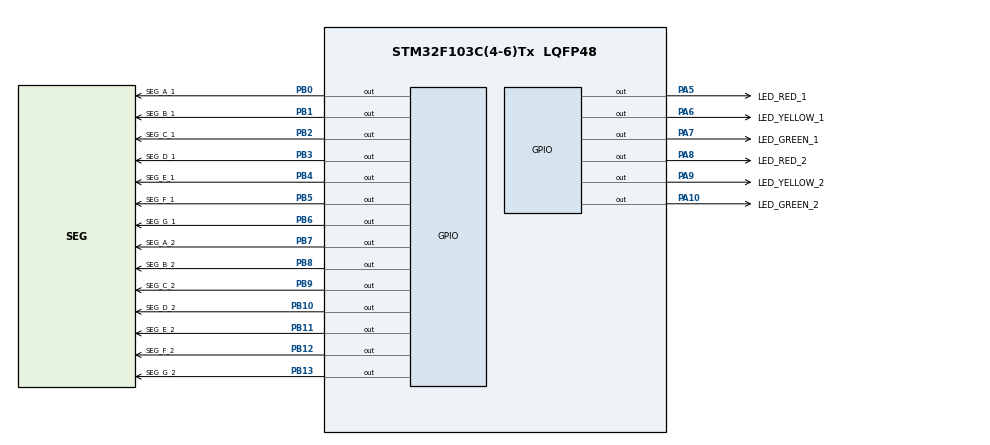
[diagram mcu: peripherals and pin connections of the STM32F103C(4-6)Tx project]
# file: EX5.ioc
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Mcu.Family=STM32F1
Mcu.Name=STM32F103C(4-6)Tx
Mcu.Package=LQFP48
NVIC.PriorityGroup=NVIC_PRIORITYGROUP_4
PA10.GPIO_Label=LED_GREEN_2
PA10.Signal=GPIO_Output
PA5.GPIO_Label=LED_RED_1
PA5.Signal=GPIO_Output
PA6.GPIO_Label=LED_YELLOW_1
PA6.Signal=GPIO_Output
PA7.GPIO_Label=LED_GREEN_1
PA7.Signal=GPIO_Output
PA8.GPIO_Label=LED_RED_2
PA8.Signal=GPIO_Output
PA9.GPIO_Label=LED_YELLOW_2
PA9.Signal=GPIO_Output
PB0.GPIO_Label=SEG_A_1
PB0.Signal=GPIO_Output
PB1.GPIO_Label=SEG_B_1
PB1.Signal=GPIO_Output
PB10.GPIO_Label=SEG_D_2
PB10.Signal=GPIO_Output
PB11.GPIO_Label=SEG_E_2
PB11.Signal=GPIO_Output
PB12.GPIO_Label=SEG_F_2
PB12.Signal=GPIO_Output
PB13.GPIO_Label=SEG_G_2
PB13.Signal=GPIO_Output
PB2.GPIO_Label=SEG_C_1
PB2.Signal=GPIO_Output
PB3.GPIO_Label=SEG_D_1
PB3.Signal=GPIO_Output
PB4.GPIO_Label=SEG_E_1
PB4.Signal=GPIO_Output
PB5.GPIO_Label=SEG_F_1
PB5.Signal=GPIO_Output
PB6.GPIO_Label=SEG_G_1
PB6.Signal=GPIO_Output
PB7.GPIO_Label=SEG_A_2
PB7.Signal=GPIO_Output
PB8.GPIO_Label=SEG_B_2
PB8.Signal=GPIO_Output
PB9.GPIO_Label=SEG_C_2
PB9.Signal=GPIO_Output
ProjectManager.HeapSize=0x200
ProjectManager.StackSize=0x400
ProjectManager.TargetToolchain=STM32CubeIDE
RCC.APB1Freq_Value=8000000
RCC.APB2Freq_Value=8000000
VP_SYS_VS_ND.Mode=No_Debug
board=custom

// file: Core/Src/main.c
/* USER CODE BEGIN Header */
/**
  ******************************************************************************
  * @file           : main.c
  * @brief          : Main program body
  ******************************************************************************
  * @attention
  *
  * <h2><center>&copy; Copyright (c) 2024 STMicroelectronics.
  * All rights reserved.</center></h2>
  *
  * This software component is licensed by ST under BSD 3-Clause license,
  * the "License"; You may not use this file except in compliance with the
  * License. You may obtain a copy of the License at:
  *                        opensource.org/licenses/BSD-3-Clause
  *
  ******************************************************************************
  */
/* USER CODE END Header */
#include "main.h"

void SystemClock_Config(void);
static void MX_GPIO_Init(void);

int main(void)
{

  /* MCU Configuration--------------------------------------------------------*/

  /* Reset of all peripherals, Initializes the Flash interface and the Systick. */
  HAL_Init();

  /* Configure the system clock */
  SystemClock_Config();

  /* Initialize all configured peripherals */
  MX_GPIO_Init();

  /* Infinite loop */
  /* USER CODE BEGIN WHILE */
  void display7SEG_1(int num){
  	HAL_GPIO_WritePin(GPIOB, SEG_A_1_Pin | SEG_B_1_Pin | SEG_C_1_Pin | SEG_D_1_Pin | SEG_E_1_Pin | SEG_F_1_Pin | SEG_G_1_Pin, SET); // TAT TOAN BO LED TREN LED SO
  	switch (num) {
  		case 0:
  			HAL_GPIO_WritePin(GPIOB, SEG_A_1_Pin | SEG_B_1_Pin | SEG_C_1_Pin | SEG_D_1_Pin | SEG_E_1_Pin | SEG_F_1_Pin, RESET);
  			break;
  		case 1:
  			HAL_GPIO_WritePin(GPIOB, SEG_B_1_Pin | SEG_C_1_Pin, RESET);
  			break;
  		case 2:
  			HAL_GPIO_WritePin(GPIOB, SEG_A_1_Pin | SEG_B_1_Pin | SEG_D_1_Pin | SEG_E_1_Pin | SEG_G_1_Pin, RESET);
  			break;
  		case 3:
  			HAL_GPIO_WritePin(GPIOB, SEG_A_1_Pin | SEG_B_1_Pin | SEG_C_1_Pin | SEG_D_1_Pin | SEG_G_1_Pin, RESET);
  			break;
  		case 4:
  			HAL_GPIO_WritePin(GPIOB, SEG_B_1_Pin | SEG_C_1_Pin | SEG_F_1_Pin | SEG_G_1_Pin, RESET);
  			break;
  		case 5:
  			HAL_GPIO_WritePin(GPIOB, SEG_A_1_Pin | SEG_C_1_Pin | SEG_D_1_Pin | SEG_F_1_Pin | SEG_G_1_Pin, RESET);
  			break;
  		case 6:
  			HAL_GPIO_WritePin(GPIOB, SEG_A_1_Pin | SEG_C_1_Pin | SEG_D_1_Pin | SEG_E_1_Pin | SEG_F_1_Pin | SEG_G_1_Pin, RESET);
  			break;
  		case 7:
  			HAL_GPIO_WritePin(GPIOB, SEG_A_1_Pin | SEG_B_1_Pin | SEG_C_1_Pin, RESET);
  			break;
  		case 8:
  			HAL_GPIO_WritePin(GPIOB, SEG_A_1_Pin | SEG_B_1_Pin | SEG_C_1_Pin | SEG_D_1_Pin | SEG_E_1_Pin | SEG_F_1_Pin | SEG_G_1_Pin, RESET);
  			break;
  		case 9:
  			HAL_GPIO_WritePin(GPIOB, SEG_A_1_Pin | SEG_B_1_Pin | SEG_C_1_Pin | SEG_D_1_Pin | SEG_F_1_Pin | SEG_G_1_Pin, RESET);
  			break;
  	}
  }

  void display7SEG_2(int num){
  	HAL_GPIO_WritePin(GPIOB, SEG_A_2_Pin | SEG_B_2_Pin | SEG_C_2_Pin | SEG_D_2_Pin | SEG_E_2_Pin | SEG_F_2_Pin | SEG_G_2_Pin, SET); // TAT TOAN BO LED TREN LED SO
  	switch (num) {
  		case 0:
  			HAL_GPIO_WritePin(GPIOB, SEG_A_2_Pin | SEG_B_2_Pin | SEG_C_2_Pin | SEG_D_2_Pin | SEG_E_2_Pin | SEG_F_2_Pin, RESET);
  			break;
  		case 1:
  			HAL_GPIO_WritePin(GPIOB, SEG_B_2_Pin | SEG_C_2_Pin, RESET);
  			break;
  		case 2:
  			HAL_GPIO_WritePin(GPIOB, SEG_A_2_Pin | SEG_B_2_Pin | SEG_D_2_Pin | SEG_E_2_Pin | SEG_G_2_Pin, RESET);
  			break;
  		case 3:
  			HAL_GPIO_WritePin(GPIOB, SEG_A_2_Pin | SEG_B_2_Pin | SEG_C_2_Pin | SEG_D_2_Pin | SEG_G_2_Pin, RESET);
  			break;
  		case 4:
  			HAL_GPIO_WritePin(GPIOB, SEG_B_2_Pin | SEG_C_2_Pin | SEG_F_2_Pin | SEG_G_2_Pin, RESET);
  			break;
  		case 5:
  			HAL_GPIO_WritePin(GPIOB, SEG_A_2_Pin | SEG_C_2_Pin | SEG_D_2_Pin | SEG_F_2_Pin | SEG_G_2_Pin, RESET);
  			break;
  		case 6:
  			HAL_GPIO_WritePin(GPIOB, SEG_A_2_Pin | SEG_C_2_Pin | SEG_D_2_Pin | SEG_E_2_Pin | SEG_F_2_Pin | SEG_G_2_Pin, RESET);
  			break;
  		case 7:
  			HAL_GPIO_WritePin(GPIOB, SEG_A_2_Pin | SEG_B_2_Pin | SEG_C_2_Pin, RESET);
  			break;
  		case 8:
  			HAL_GPIO_WritePin(GPIOB, SEG_A_2_Pin | SEG_B_2_Pin | SEG_C_2_Pin | SEG_D_2_Pin | SEG_E_2_Pin | SEG_F_2_Pin | SEG_G_2_Pin, RESET);
  			break;
  		case 9:
  			HAL_GPIO_WritePin(GPIOB, SEG_A_2_Pin | SEG_B_2_Pin | SEG_C_2_Pin | SEG_D_2_Pin | SEG_F_2_Pin | SEG_G_2_Pin, RESET);
  			break;
  	}
  }

typedef enum LightState {
	  RED1_GREEN2,
	  RED1_YELLOW2,
	  GREEN1_RED2,
	  YELLOW1_RED2
} TrafficLighState;

void turnonTrafficLight (int Pin){
	HAL_GPIO_WritePin(GPIOA, Pin, SET); //TIN HIEU BANG 1 THI DEN SANG DO DEN NOI DAT
}

void turnoffTrafficLight (int Pin){
	HAL_GPIO_WritePin(GPIOA, Pin, RESET);
}

const int redTime = 5;
const int yellowTime = 2;
const int greenTime = 3;

int counter = 3;
int light1 = redTime;
int light2 = greenTime;
TrafficLighState currenState = RED1_GREEN2;
TrafficLighState nextState;
  while (1)
  {
    /* USER CODE END WHILE */

    /* USER CODE BEGIN 3 */
   display7SEG_1(light1);
   display7SEG_2(light2);
   switch (currenState){
   	   case RED1_GREEN2:
   		   turnoffTrafficLight(LED_YELLOW_1_Pin);
   		   turnoffTrafficLight(LED_RED_2_Pin);
   		   turnonTrafficLight(LED_RED_1_Pin);
   		   turnonTrafficLight(LED_GREEN_2_Pin);
   		   counter--;
   		   light1--;
   		   light2--;
   		   if (counter <=0) {
   			   nextState = RED1_YELLOW2;
   			   counter = 2;
   			   light1 = yellowTime;
   			   light2 = yellowTime;
   		   }
   	   break;
   	   case RED1_YELLOW2:
   		   turnoffTrafficLight(LED_GREEN_2_Pin);
   		   turnonTrafficLight(LED_RED_1_Pin);
   		   turnonTrafficLight(LED_YELLOW_2_Pin);
   		   counter--;
   		   light1--;
   		   light2--;
   		   if (counter <=0){
   			   nextState = GREEN1_RED2;
   			   counter = 3;
   			   light1 = greenTime;
   			   light2 = redTime;
   		   }
   	   break;
   	   case GREEN1_RED2:
	   	   turnoffTrafficLight(LED_RED_1_Pin);
	   	   turnoffTrafficLight(LED_YELLOW_2_Pin);
   		   turnonTrafficLight(LED_GREEN_1_Pin);
   		   turnonTrafficLight(LED_RED_2_Pin);
   		   counter--;
   		   light1--;
   		   light2--;
   		   if (counter <=0){
   			   nextState = YELLOW1_RED2;
   			   counter = 2;
   			   light1 = yellowTime;
   			   light2 = yellowTime;

   		   }
	   break;
   	   case YELLOW1_RED2:
   		   turnoffTrafficLight(LED_GREEN_1_Pin);
   		   turnonTrafficLight(LED_YELLOW_1_Pin);
   		   turnonTrafficLight(LED_RED_2_Pin);
   		   counter--;
   		   light1--;
   		   light2--;
   		   if (counter <=0){
   			   nextState = RED1_GREEN2;
   			   counter = 3;
   			   light1 = redTime;
   			   light2 = greenTime;
   		   }
	   break;

   }
   currenState = nextState;
   HAL_Delay(1000);

  }
  /* USER CODE END 3 */
}

void SystemClock_Config(void)
{
  RCC_OscInitTypeDef RCC_OscInitStruct = {0};
  RCC_ClkInitTypeDef RCC_ClkInitStruct = {0};

  /** Initializes the RCC Oscillators according to the specified parameters
  * in the RCC_OscInitTypeDef structure.
  */
  RCC_OscInitStruct.OscillatorType = RCC_OSCILLATORTYPE_HSI;
  RCC_OscInitStruct.HSIState = RCC_HSI_ON;
  RCC_OscInitStruct.HSICalibrationValue = RCC_HSICALIBRATION_DEFAULT;
  RCC_OscInitStruct.PLL.PLLState = RCC_PLL_NONE;
  if (HAL_RCC_OscConfig(&RCC_OscInitStruct) != HAL_OK)
  {
    Error_Handler();
  }
  /** Initializes the CPU, AHB and APB buses clocks
  */
  RCC_ClkInitStruct.ClockType = RCC_CLOCKTYPE_HCLK|RCC_CLOCKTYPE_SYSCLK
                              |RCC_CLOCKTYPE_PCLK1|RCC_CLOCKTYPE_PCLK2;
  RCC_ClkInitStruct.SYSCLKSource = RCC_SYSCLKSOURCE_HSI;
  RCC_ClkInitStruct.AHBCLKDivider = RCC_SYSCLK_DIV1;
  RCC_ClkInitStruct.APB1CLKDivider = RCC_HCLK_DIV1;
  RCC_ClkInitStruct.APB2CLKDivider = RCC_HCLK_DIV1;

  if (HAL_RCC_ClockConfig(&RCC_ClkInitStruct, FLASH_LATENCY_0) != HAL_OK)
  {
    Error_Handler();
  }
}

static void MX_GPIO_Init(void)
{
  GPIO_InitTypeDef GPIO_InitStruct = {0};

  /* GPIO Ports Clock Enable */
  __HAL_RCC_GPIOA_CLK_ENABLE();
  __HAL_RCC_GPIOB_CLK_ENABLE();

  /*Configure GPIO pin Output Level */
  HAL_GPIO_WritePin(GPIOA, LED_RED_1_Pin|LED_YELLOW_1_Pin|LED_GREEN_1_Pin|LED_RED_2_Pin
                          |LED_YELLOW_2_Pin|LED_GREEN_2_Pin, GPIO_PIN_RESET);

  /*Configure GPIO pin Output Level */
  HAL_GPIO_WritePin(GPIOB, SEG_A_1_Pin|SEG_B_1_Pin|SEG_C_1_Pin|SEG_D_2_Pin
                          |SEG_E_2_Pin|SEG_F_2_Pin|SEG_G_2_Pin|SEG_D_1_Pin
                          |SEG_E_1_Pin|SEG_F_1_Pin|SEG_G_1_Pin|SEG_A_2_Pin
                          |SEG_B_2_Pin|SEG_C_2_Pin, GPIO_PIN_RESET);

  /*Configure GPIO pins : LED_RED_1_Pin LED_YELLOW_1_Pin LED_GREEN_1_Pin LED_RED_2_Pin
                           LED_YELLOW_2_Pin LED_GREEN_2_Pin */
  GPIO_InitStruct.Pin = LED_RED_1_Pin|LED_YELLOW_1_Pin|LED_GREEN_1_Pin|LED_RED_2_Pin
                          |LED_YELLOW_2_Pin|LED_GREEN_2_Pin;
  GPIO_InitStruct.Mode = GPIO_MODE_OUTPUT_PP;
  GPIO_InitStruct.Pull = GPIO_NOPULL;
  GPIO_InitStruct.Speed = GPIO_SPEED_FREQ_LOW;
  HAL_GPIO_Init(GPIOA, &GPIO_InitStruct);

  /*Configure GPIO pins : SEG_A_1_Pin SEG_B_1_Pin SEG_C_1_Pin SEG_D_2_Pin
                           SEG_E_2_Pin SEG_F_2_Pin SEG_G_2_Pin SEG_D_1_Pin
                           SEG_E_1_Pin SEG_F_1_Pin SEG_G_1_Pin SEG_A_2_Pin
                           SEG_B_2_Pin SEG_C_2_Pin */
  GPIO_InitStruct.Pin = SEG_A_1_Pin|SEG_B_1_Pin|SEG_C_1_Pin|SEG_D_2_Pin
                          |SEG_E_2_Pin|SEG_F_2_Pin|SEG_G_2_Pin|SEG_D_1_Pin
                          |SEG_E_1_Pin|SEG_F_1_Pin|SEG_G_1_Pin|SEG_A_2_Pin
                          |SEG_B_2_Pin|SEG_C_2_Pin;
  GPIO_InitStruct.Mode = GPIO_MODE_OUTPUT_PP;
  GPIO_InitStruct.Pull = GPIO_NOPULL;
  GPIO_InitStruct.Speed = GPIO_SPEED_FREQ_LOW;
  HAL_GPIO_Init(GPIOB, &GPIO_InitStruct);

}

void Error_Handler(void)
{
  __disable_irq();
  while (1)
  {
  }
}

/************************ (C) COPYRIGHT STMicroelectronics *****END OF FILE****/
